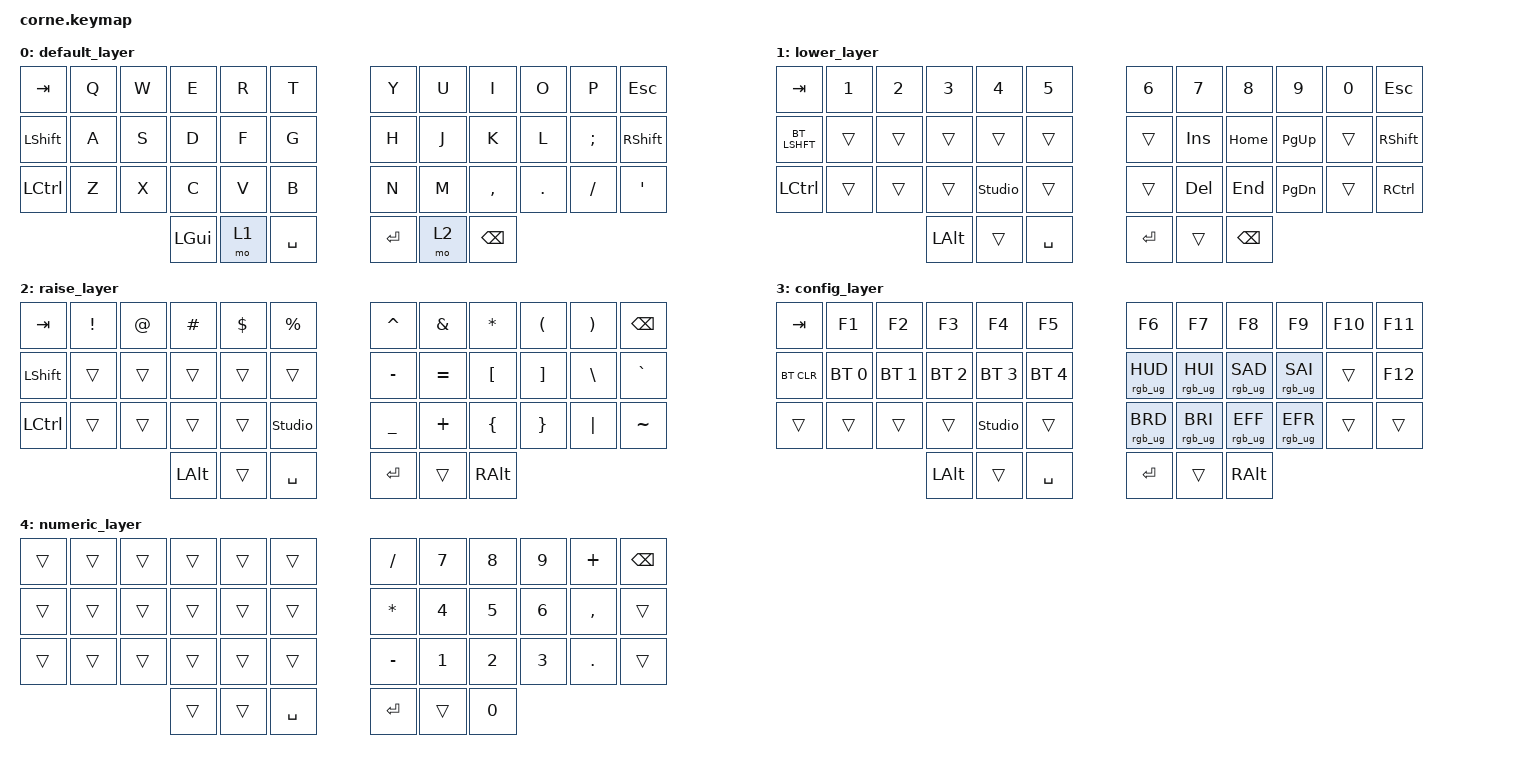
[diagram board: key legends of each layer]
/*
 * Copyright (c) 2020 The ZMK Contributors
 *
 * SPDX-License-Identifier: MIT
 */

#include <behaviors.dtsi>
#include <dt-bindings/zmk/keys.h>
#include <dt-bindings/zmk/bt.h>
#include <dt-bindings/zmk/rgb.h>

/ {
        keymap {
                compatible = "zmk,keymap";

                default_layer {
// -----------------------------------------------------------------------------------------
// | TAB  |  Q  |  W  |  E  |  R  |  T  |   |  Y  |  U   |  I  |  O  |  P  | ESC  |
// | SHFT |  A  |  S  |  D  |  F  |  G  |   |  H  |  J   |  K  |  L  |  ;  | SHFT |
// | CTRL |  Z  |  X  |  C  |  V  |  B  |   |  N  |  M   |  ,  |  .  |  /  |  '   |
//                    | GUI | LWR | SPC |   | ENT | RSE  | BSPC|
                        bindings = <
   &kp TAB   &kp Q &kp W &kp E &kp R &kp T   &kp Y &kp U  &kp I     &kp O   &kp P    &kp ESC
   &kp LSHFT &kp A &kp S &kp D &kp F &kp G   &kp H &kp J  &kp K     &kp L   &kp SEMI &kp RSHFT
   &kp LCTRL &kp Z &kp X &kp C &kp V &kp B   &kp N &kp M  &kp COMMA &kp DOT &kp FSLH &kp SQT
                  &kp LGUI &mo 1 &kp SPACE   &kp RET &mo 2 &kp BSPC
                        >;
                };

                lower_layer {
// -----------------------------------------------------------------------------------------
// |  TAB |  1  |  2  |  3  |  4  |  5  |   |  6  |  7  |  8  |  9  |  0  | ESC  |
// | SHFT |     |     |     |     |     |   |     | INS |HOME |P_UP |     | SHFT |
// | CTRL |     |     |ST_UN|     |     |   |     | DEL | END |P_DN |     | CTRL |
//                    | ALT |     | SPC |   | ENT |     | BSPC|
                        bindings = <
   &kp TAB    &kp N1  &kp N2  &kp N3   &kp N4          &kp N5         &kp N6   &kp N7   &kp N8    &kp N9     &kp N0     &kp ESC 
   &bt LSHFT  &trans  &trans  &trans   &trans          &trans         &trans   &kp INS  &kp HOME  &kp PG_UP  &trans     &kp RSHFT
   &kp LCTRL  &trans  &trans  &trans   &studio_unlock  &trans         &trans   &kp DEL   &kp END    &kp PG_DN  &trans  &kp RCTRL
                           &kp LALT  &trans  &kp SPACE                &kp RET  &trans   &kp BSPC
                        >;
                };

                raise_layer {
// -----------------------------------------------------------------------------------------
// |  TAB |  !  |  @  |  #  |  $  |  %  |   |  ^  |  &  |  *  |  (  |  )  | BSPC |
// | SHFT |     |     |     |     |     |   |  -  |  =  |  [  |  ]  |  \  |  `   |
// | CTRL |     |     |     |     |     |   |  _  |  +  |  {  |  }  | "|" |  ~   |
//                    | ALT |     | SPC |   | ENT |     | ALT |
                        bindings = <
   &kp  TAB  &kp EXCL &kp AT &kp HASH &kp DLLR &kp PRCNT      &kp CARET &kp AMPS  &kp ASTRK &kp LPAR &kp RPAR &kp BSPC
   &kp LSHFT &trans   &trans &trans   &trans   &trans         &kp MINUS &kp EQUAL &kp LBKT  &kp RBKT &kp BSLH &kp GRAVE
   &kp LCTRL &trans   &trans &trans   &trans   &studio_unlock &kp UNDER &kp PLUS  &kp LBRC  &kp RBRC &kp PIPE &kp TILDE
                      &kp LALT   &trans   &kp SPACE         &kp RET   &trans   &kp RALT
                        >;
                };
                
		config_layer {
// -----------------------------------------------------------------------------------------
// |  TAB |  1  |  2  |  3  |  4  |  5  |   |  6  |  7  |  8  |  9  |  0  | BSPC |
// | BTCLR| BT1 | BT2 | BT3 | BT4 | BT5 |   | LFT | DWN |  UP | RGT |     |      |
// | SHFT |     |     |ST_UN|     |     |   |     |     |     |     |     |      |
//                    | GUI |     | SPC |   | ENT |     | ALT |
                        bindings = <
   &kp TAB    &kp F1       &kp F2       &kp F3       &kp F4         &kp F5         &kp F6           &kp F7   &kp F8 &kp F9    &kp F10 &kp F11
   &bt BT_CLR &bt BT_SEL 0 &bt BT_SEL 1 &bt BT_SEL 2 &bt BT_SEL 3   &bt BT_SEL 4   &rgb_ug RGB_HUD  &rgb_ug RGB_HUI   &rgb_ug RGB_SAD &rgb_ug RGB_SAI  &trans  &kp F12
   &trans     &trans       &trans       &trans       &studio_unlock &trans         &rgb_ug RGB_BRD  &rgb_ug RGB_BRI   &rgb_ug RGB_EFF &rgb_ug RGB_EFR  &trans  &trans
                        &kp LALT  &trans  &kp SPACE        &kp RET  &trans  &kp RALT
                        >;
                };

		numeric_layer {
// -----------------------------------------------------------------------------------------
// |  TAB |  1  |  2  |  3  |  4  |  5  |   |  6  |  7  |  8  |  9  |  0  | BSPC |
// | BTCLR| BT1 | BT2 | BT3 | BT4 | BT5 |   | LFT | DWN |  UP | RGT |     |      |
// | SHFT |     |     |ST_UN|     |     |   |     |     |     |     |     |      |
//                    | GUI |     | SPC |   | ENT |     | ALT |
                        bindings = <
   &trans &trans &trans &trans &trans &trans     &kp FSLH   &kp N7 &kp N8 &kp N9 &kp PLUS  &kp BSPC
   &trans &trans &trans &trans &trans &trans 	 &kp ASTRK  &kp N4 &kp N5 &kp N6 &kp COMMA &trans
   &trans &trans &trans &trans &trans &trans     &kp MINUS  &kp N1 &kp N2 &kp N3 &kp DOT   &trans
                        &trans &trans &kp SPACE  &kp RET &trans  &kp N0
                        >;
                };
        };
};
